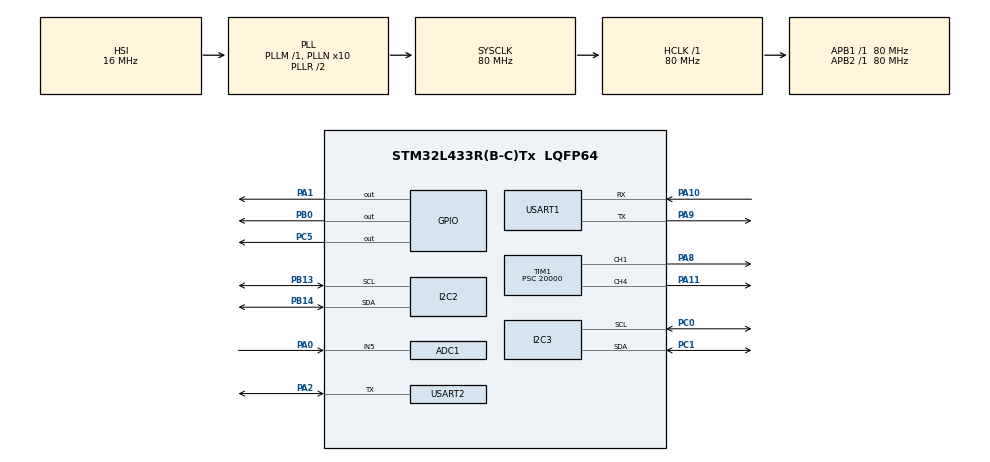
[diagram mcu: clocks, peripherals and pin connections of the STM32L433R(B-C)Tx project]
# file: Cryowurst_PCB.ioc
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ADC1.Channel-0\#ChannelRegularConversion=ADC_CHANNEL_5
ADC1.NbrOfConversionFlag=1
ADC1.OffsetNumber-0\#ChannelRegularConversion=ADC_OFFSET_NONE
ADC1.Rank-0\#ChannelRegularConversion=1
ADC1.SamplingTime-0\#ChannelRegularConversion=ADC_SAMPLETIME_2CYCLES_5
ADC1.master=1
I2C2.Timing=0x10909CEC
I2C3.Timing=0x10909CEC
Mcu.Family=STM32L4
Mcu.Name=STM32L433R(B-C)Tx
Mcu.Package=LQFP64
NVIC.PriorityGroup=NVIC_PRIORITYGROUP_4
NVIC.RTC_WKUP_IRQn=true\:0\:0\:false\:false\:true\:true\:true
NVIC.USART1_IRQn=true\:0\:0\:false\:false\:true\:true\:true
PA0.Signal=ADCx_IN5
PA1.Signal=GPIO_Output
PA10.Mode=Asynchronous
PA10.Signal=USART1_RX
PA11.Signal=S_TIM1_CH4
PA13\ (JTMS-SWDIO).Mode=Serial_Wire
PA13\ (JTMS-SWDIO).Signal=SYS_JTMS-SWDIO
PA14\ (JTCK-SWCLK).Mode=Serial_Wire
PA14\ (JTCK-SWCLK).Signal=SYS_JTCK-SWCLK
PA2.Mode=Half_duplex(single_wire_mode)
PA2.Signal=USART2_TX
PA8.Signal=S_TIM1_CH1
PA9.Mode=Asynchronous
PA9.Signal=USART1_TX
PB0.Signal=GPIO_Output
PB13.Mode=I2C
PB13.Signal=I2C2_SCL
PB14.Mode=I2C
PB14.Signal=I2C2_SDA
PB3\ (JTDO-TRACESWO).Signal=SYS_JTDO-SWO
PC0.Mode=I2C
PC0.Signal=I2C3_SCL
PC1.Mode=I2C
PC1.Signal=I2C3_SDA
PC14-OSC32_IN\ (PC14).Mode=LSE-External-Oscillator
PC14-OSC32_IN\ (PC14).Signal=RCC_OSC32_IN
PC15-OSC32_OUT\ (PC15).Mode=LSE-External-Oscillator
PC15-OSC32_OUT\ (PC15).Signal=RCC_OSC32_OUT
PC5.Signal=GPIO_Output
ProjectManager.HeapSize=0x200
ProjectManager.StackSize=0x400
ProjectManager.TargetToolchain=STM32CubeIDE
RCC.ADCFreq_Value=64000000
RCC.AHBFreq_Value=80000000
RCC.APB1Freq_Value=80000000
RCC.APB1TimFreq_Value=80000000
RCC.APB2Freq_Value=80000000
RCC.APB2TimFreq_Value=80000000
RCC.CortexFreq_Value=80000000
RCC.HCLKFreq_Value=80000000
RCC.HSE_VALUE=8000000
RCC.HSI48_VALUE=48000000
RCC.HSI_VALUE=16000000
RCC.MSI_VALUE=4000000
RCC.PLLN=10
RCC.PLLSourceVirtual=RCC_PLLSOURCE_HSI
RCC.RTCClockSelection=RCC_RTCCLKSOURCE_LSE
RCC.SYSCLKFreq_VALUE=80000000
RCC.SYSCLKSource=RCC_SYSCLKSOURCE_PLLCLK
RCC.USBFreq_Value=64000000
RCC.VCOOutputFreq_Value=160000000
SH.ADCx_IN5.0=ADC1_IN5,IN5-Single-Ended
SH.S_TIM1_CH1.0=TIM1_CH1,PWM Generation1 CH1
SH.S_TIM1_CH4.0=TIM1_CH4,PWM Generation4 CH4
TIM1.Channel-PWM\ Generation1\ CH1=TIM_CHANNEL_1
TIM1.Channel-PWM\ Generation4\ CH4=TIM_CHANNEL_4
TIM1.OCPolarity_4=TIM_OCPOLARITY_LOW
TIM1.Period=6
TIM1.Prescaler=20000
TIM1.Pulse-PWM\ Generation1\ CH1=3
TIM1.Pulse-PWM\ Generation4\ CH4=3
USART1.VirtualMode-Asynchronous=VM_ASYNC
USART2.BaudRate=19200
USART2.VirtualMode-Half_duplex(single_wire_mode)=VM_ASYNC
VP_RTC_VS_RTC_Activate.Mode=RTC_Enabled
VP_RTC_VS_RTC_WakeUp_intern.Mode=WakeUp
board=custom

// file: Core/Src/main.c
/* USER CODE BEGIN Header */
/**
  ******************************************************************************
  * @file           : main.c
  * @brief          : Main program body
  ******************************************************************************
  * @attention
  *
  * <h2><center>&copy; Copyright (c) 2021 STMicroelectronics.
  * All rights reserved.</center></h2>
  *
  * This software component is licensed by ST under BSD 3-Clause license,
  * the "License"; You may not use this file except in compliance with the
  * License. You may obtain a copy of the License at:
  *                        opensource.org/licenses/BSD-3-Clause
  *
  ******************************************************************************
  */
/* USER CODE END Header */
#include "main.h"

/* USER CODE BEGIN Includes */
#include <stdbool.h>
#include <string.h>
//#include "SparkFun_Qwiic_Scale_NAU7802_Arduino_library.h"
/* USER CODE END Includes */

/* USER CODE BEGIN PTD */
typedef struct TEMPERATURE_DATA{
	int16_t temperature;
}TEMPERATURE_DATA;
typedef struct IMU_DATA{
	int16_t accel_x;
	int16_t accel_y;
	int16_t accel_z;
	int16_t gyro_x;
	int16_t gyro_y;
	int16_t gyro_z;
	int16_t mag_x;
	int16_t mag_y;
	int16_t mag_z;
}IMU_DATA;
typedef struct TILT_DATA{
	int16_t accel_x;
	int16_t accel_y;
	int16_t accel_z;
	int16_t pitch_x;
	int16_t roll_y;
}TILT_DATA;
typedef struct COND_DATA{
	uint16_t result;
}COND_DATA;
typedef struct PRES_DATA{
	uint16_t pressure_result;
	uint16_t temp_result;
}PRES_DATA;
/* USER CODE END PTD */

/* USER CODE BEGIN PD */
#define GENERAL_CALL_ADDR 0
#define CI_Byte 0xAC

/*WAIT TIMES*/
#define TMP117_I2C_DELAY 500
#define MPU9250_I2C_DELAY 500
#define TILT_UART_DELAY 1000
#define ADC_POLL_TIMEOUT 1000

#define TMP117_EEPROM_WRITE_WAIT 7 //ms
/*WAIT TIMES*/

/*TEMPERATURE SENSOR*/
#define TMP117_DEVICE_ID_REG 0x0F

#define TMP117_TEMPERATURE_REG 0x00
#define TMP117_CONFIG_REG 0x01
#define TMP117_EEPROM_UNLOCK_REG 0x04
#define TMP117_EEPROM_2_REG 0x06

#define TMP117_EEPROM_UNLOCK_BIT 15
#define TMP117_EEPROM_BUSY_BIT 14
#define TMP117_RESET_CMD 6
/*TEMPERATURE SENSOR*/

/*IMU SENSOR*/
/*MPU-9250 ADDRESS*/
#define MPU9250_WHO_AM_I 0x75 //default 0x71
#define MPU9250_USER_CTRL 0x6A
#define MPU9250_INT_PIN_CFG 0x37

/*MPU-9250 Accelerometer Data Registers*/
#define MPU9250_ACCEL_XOUT_H 0x3B
#define MPU9250_ACCEL_XOUT_L 0x3C
#define MPU9250_ACCEL_YOUT_H 0x3D
#define MPU9250_ACCEL_YOUT_L 0x3E
#define MPU9250_ACCEL_ZOUT_H 0x3F
#define MPU9250_ACCEL_ZOUT_L 0x40

/*MPU-9250 Temperature Data Registers*/
#define MPU9250_TEMP_OUT_H 0x41
#define MPU9250_TEMP_OUT_L 0x42

/*MPU-9250 Gyro Data Registers*/
#define MPU9250_GYRO_XOUT_H 0x43
#define MPU9250_GYRO_XOUT_L 0x44
#define MPU9250_GYRO_YOUT_H 0x45
#define MPU9250_GYRO_YOUT_L 0x46
#define MPU9250_GYRO_ZOUT_H 0x47
#define MPU9250_GYRO_ZOUT_L 0x48

/*MPU-9250 Magnetometer Data Registers*/
#define MPU9250_MAG_XOUT_L 0x03 //HXL
#define MPU9250_MAG_XOUT_H 0x04 //HXH
#define MPU9250_MAG_YOUT_L 0x05 //HYL
#define MPU9250_MAG_YOUT_H 0x06 //HYH
#define MPU9250_MAG_ZOUT_L 0x07 //HZL
#define MPU9250_MAG_ZOUT_H 0x08 //HZH

#define MPU9250_MAG_STATUS 0x02 //ST1
#define MPU9250_MAG_STATUS2 0x09 //ST2
#define MPU9250_MAG_CNTL 0x0A //CNTL
#define MPU9250_MAG_CNTL2 0x0B

#define ICM20948_INT_PIN_CFG 0x0F

#define ICM20948_MAG_XOUT_L 0x11 //HXL
#define ICM20948_MAG_XOUT_H 0x12 //HXH
#define ICM20948_MAG_YOUT_L 0x13 //HYL
#define ICM20948_MAG_YOUT_H 0x14 //HYH
#define ICM20948_MAG_ZOUT_L 0x15 //HZL
#define ICM20948_MAG_ZOUT_H 0x16 //HZH

#define ICM20948_MAG_STATUS 0x10 //ST1
#define ICM20948_MAG_STATUS2 0x18 //ST2
#define ICM20948_MAG_CNTL2 0x31 //CNTL
#define ICM20948_MAG_CNTL3 0x32
/*IMU SENSOR*/

/* USER CODE END PD */

ADC_HandleTypeDef hadc1;

I2C_HandleTypeDef hi2c2;
I2C_HandleTypeDef hi2c3;

RTC_HandleTypeDef hrtc;

TIM_HandleTypeDef htim1;

UART_HandleTypeDef huart1;
UART_HandleTypeDef huart2;

/* USER CODE BEGIN PV */
bool flag = false;
static const uint8_t TMP117_ADDR = (0x48 << 1);
static const uint8_t ICM20948_ADDR = (0x68 << 1);
static const uint8_t AK09916_ADDR = (0x0C << 1);
static const uint8_t PRESSURE_ADDR = (0x40 << 1);

bool load_cell_connected = false;
bool pressure_sensor_connected = false;
bool tilt_sensor_connected = false;
bool imu_connected = false;
bool temperature_sensor_connected = false;
/* USER CODE END PV */

void SystemClock_Config(void);
static void MX_GPIO_Init(void);
static void MX_USART2_UART_Init(void);
static void MX_I2C3_Init(void);
static void MX_RTC_Init(void);
static void MX_USART1_UART_Init(void);
static void MX_TIM1_Init(void);
static void MX_ADC1_Init(void);
static void MX_I2C2_Init(void);
/* USER CODE BEGIN PFP */
bool setup_temperature_sensor(void);
TEMPERATURE_DATA read_temperature_sensor(void);
bool setup_imu_sensor(void);
IMU_DATA read_imu_sensor(void);
bool setup_tilt_sensor(void);
bool setup_load_cell_sensor(void);
TILT_DATA read_tilt_sensor(void);
COND_DATA read_conductivity_sensor(void);
bool setup_pressure_sensor(void);
PRES_DATA read_pressure_sensor(void);
uint16_t read_battery_voltage();
void convert_int32_t_to_three_bytes(int32_t input_value, uint8_t * output_array);
bool assemble_and_send_packet(void);
/* USER CODE END PFP */

/* USER CODE BEGIN 0 */
uint8_t TILT_RX_BUF[50];
char TILT_RX_DATA[50];
int TILT_RX_DATA_INDEX = 0;
volatile bool TILT_RX_FLAG = false;
volatile bool TILT_ERROR_FLAG = false;
uint8_t TILT_CHKSUM = 0;
char TILT_CHKSUM_RETREIVED[2];

TEMPERATURE_DATA temperature_data;
IMU_DATA imu_data;
TILT_DATA tilt_data;
COND_DATA cond_data;
PRES_DATA pres_data;
/* USER CODE END 0 */

int main(void)
{

  /* MCU Configuration--------------------------------------------------------*/

  /* Reset of all peripherals, Initializes the Flash interface and the Systick. */
  HAL_Init();

  /* Configure the system clock */
  SystemClock_Config();

  /* Initialize all configured peripherals */
  MX_GPIO_Init();
  MX_USART2_UART_Init();
  MX_I2C3_Init();
  MX_RTC_Init();
  MX_USART1_UART_Init();
  MX_TIM1_Init();
  MX_ADC1_Init();
  MX_I2C2_Init();
  /* USER CODE BEGIN 2 */

  /*CRYOEGG 19 WAKEUP CODE*/
  // wakeup functionality
  /* Check and handle if the system was resumed from StandBy mode */
  if(__HAL_PWR_GET_FLAG(PWR_FLAG_SB) != RESET)
  {
	  /* Clear Standby flag */
	  __HAL_PWR_CLEAR_FLAG(PWR_FLAG_SB);
  }
  /* The Following Wakeup sequence is highly recommended prior to each Standby mode entry
   * mainly  when using more than one wakeup source this is to not miss any wakeup event.
   * - Disable all used wakeup sources,
   * - Clear all related wakeup flags,
   * - Re-enable all used wakeup sources,
   * - Enter the Standby mode.
   * */
  /* Disable all used wakeup sources*/
  HAL_RTCEx_DeactivateWakeUpTimer(&hrtc);
  /* Clear all related wakeup flags */
  __HAL_PWR_CLEAR_FLAG(PWR_FLAG_WU);
  /*CRYOEGG 19 WAKEUP CODE*/

  //Enable Sensor 3v3
  HAL_GPIO_WritePin(GPIOC, GPIO_PIN_5, GPIO_PIN_SET);
   HAL_Delay(500);

   load_cell_connected = setup_load_cell_sensor(); // returns true on success
   //tilt_sensor_connected = setup_tilt_sensor();
   tilt_sensor_connected = false; // temporary removal of tilt sensor function as we're not using it and it seems to sometimes cause the micro to hang.
   imu_connected = setup_imu_sensor();
   temperature_sensor_connected = setup_temperature_sensor();
   pressure_sensor_connected = setup_pressure_sensor();

  //Enable Radio Modem
  HAL_GPIO_WritePin(GPIOB, GPIO_PIN_0, GPIO_PIN_SET);
  HAL_Delay(500);
  assemble_and_send_packet();
  //turn on led
  HAL_GPIO_WritePin(GPIOA, GPIO_PIN_1, GPIO_PIN_SET);

  HAL_Delay(500);
  //Disable Sensor 3v3
  HAL_GPIO_WritePin(GPIOC, GPIO_PIN_5, GPIO_PIN_RESET);
  //Disable Radio Modem
  HAL_GPIO_WritePin(GPIOB, GPIO_PIN_0, GPIO_PIN_RESET);
  //HAL_Delay(2000);

  // set sleep period
  // this varies depending on whether we are in "deployment mode" (after a power-on or hardware reset) or in "long-term mode"

  // RTC backup register 0 counts out our initial "deployment" packets at a high sample rate

  uint32_t deployment_packet_count;

  uint32_t sleep_time;
  // note that it takes 5 seconds to wake up and produce a packet, so all sleep times need to be shortened by 5s.
  #define DEPLOYMENT_PACKET_SLEEP 5 // sleep for 5 seconds between deployment packets (giving a packet every 10s)
  #define DEPLOYMENT_PACKET_TOTAL_COUNT 720 // 720 deployment packets before we go to long-term mode. At one every 10s, that's two hours (6 packets/minute * 60 minutes * 2 hours = 720)

  #define LONG_TERM_SLEEP 595 // 595 seconds sleep + 5s = 600s between packets, which is 1 packet every 10 minutes

  // read values from RTC backup registers
  HAL_PWR_EnableBkUpAccess(); // enable access to the Backup Registers

  deployment_packet_count = HAL_RTCEx_BKUPRead(&hrtc, 0); // get the number of deployment packets transmitted so far

  if (deployment_packet_count < DEPLOYMENT_PACKET_TOTAL_COUNT ) {

	  // we're still in deployment mode
	  deployment_packet_count++;
	  sleep_time = DEPLOYMENT_PACKET_SLEEP;

  } else {

	  // we're in long-term mode
	  sleep_time = LONG_TERM_SLEEP;
  }

  // write back the deployment packet count to the backup register
  HAL_RTCEx_BKUPWrite(&hrtc, 0, deployment_packet_count);

  HAL_StatusTypeDef rtc_ret;
  // configure wakeup timer - set the clock to count in seconds, 0x3C seconds = 60 seconds
  rtc_ret = HAL_RTCEx_SetWakeUpTimer_IT(&hrtc, sleep_time, RTC_WAKEUPCLOCK_CK_SPRE_16BITS);

//  strcpy((char*)buf, "sleep\r\n");
//  HAL_UART_Transmit(&huart2, buf, strlen((char*)buf), HAL_MAX_DELAY);
  /* Enter the Shutdown mode */
  HAL_PWREx_EnterSHUTDOWNMode();

  /* USER CODE END 2 */

  /* Infinite loop */
  while (1)
  {

  }
}

void SystemClock_Config(void)
{
  RCC_OscInitTypeDef RCC_OscInitStruct = {0};
  RCC_ClkInitTypeDef RCC_ClkInitStruct = {0};

  /** Configure the main internal regulator output voltage
  */
  if (HAL_PWREx_ControlVoltageScaling(PWR_REGULATOR_VOLTAGE_SCALE1) != HAL_OK)
  {
    Error_Handler();
  }
  /** Configure LSE Drive Capability
  */
  HAL_PWR_EnableBkUpAccess();
  __HAL_RCC_LSEDRIVE_CONFIG(RCC_LSEDRIVE_LOW);
  /** Initializes the RCC Oscillators according to the specified parameters
  * in the RCC_OscInitTypeDef structure.
  */
  RCC_OscInitStruct.OscillatorType = RCC_OSCILLATORTYPE_HSI|RCC_OSCILLATORTYPE_LSE;
  RCC_OscInitStruct.LSEState = RCC_LSE_ON;
  RCC_OscInitStruct.HSIState = RCC_HSI_ON;
  RCC_OscInitStruct.HSICalibrationValue = RCC_HSICALIBRATION_DEFAULT;
  RCC_OscInitStruct.PLL.PLLState = RCC_PLL_ON;
  RCC_OscInitStruct.PLL.PLLSource = RCC_PLLSOURCE_HSI;
  RCC_OscInitStruct.PLL.PLLM = 1;
  RCC_OscInitStruct.PLL.PLLN = 10;
  RCC_OscInitStruct.PLL.PLLP = RCC_PLLP_DIV7;
  RCC_OscInitStruct.PLL.PLLQ = RCC_PLLQ_DIV2;
  RCC_OscInitStruct.PLL.PLLR = RCC_PLLR_DIV2;
  if (HAL_RCC_OscConfig(&RCC_OscInitStruct) != HAL_OK)
  {
    Error_Handler();
  }
  /** Initializes the CPU, AHB and APB buses clocks
  */
  RCC_ClkInitStruct.ClockType = RCC_CLOCKTYPE_HCLK|RCC_CLOCKTYPE_SYSCLK
                              |RCC_CLOCKTYPE_PCLK1|RCC_CLOCKTYPE_PCLK2;
  RCC_ClkInitStruct.SYSCLKSource = RCC_SYSCLKSOURCE_PLLCLK;
  RCC_ClkInitStruct.AHBCLKDivider = RCC_SYSCLK_DIV1;
  RCC_ClkInitStruct.APB1CLKDivider = RCC_HCLK_DIV1;
  RCC_ClkInitStruct.APB2CLKDivider = RCC_HCLK_DIV1;

  if (HAL_RCC_ClockConfig(&RCC_ClkInitStruct, FLASH_LATENCY_4) != HAL_OK)
  {
    Error_Handler();
  }
}

static void MX_ADC1_Init(void)
{

  ADC_ChannelConfTypeDef sConfig = {0};

  /** Common config
  */
  hadc1.Instance = ADC1;
  hadc1.Init.ClockPrescaler = ADC_CLOCK_ASYNC_DIV1;
  hadc1.Init.Resolution = ADC_RESOLUTION_12B;
  hadc1.Init.DataAlign = ADC_DATAALIGN_RIGHT;
  hadc1.Init.ScanConvMode = ADC_SCAN_DISABLE;
  hadc1.Init.EOCSelection = ADC_EOC_SINGLE_CONV;
  hadc1.Init.LowPowerAutoWait = DISABLE;
  hadc1.Init.ContinuousConvMode = DISABLE;
  hadc1.Init.NbrOfConversion = 1;
  hadc1.Init.DiscontinuousConvMode = DISABLE;
  hadc1.Init.ExternalTrigConv = ADC_SOFTWARE_START;
  hadc1.Init.ExternalTrigConvEdge = ADC_EXTERNALTRIGCONVEDGE_NONE;
  hadc1.Init.DMAContinuousRequests = DISABLE;
  hadc1.Init.Overrun = ADC_OVR_DATA_PRESERVED;
  hadc1.Init.OversamplingMode = DISABLE;
  if (HAL_ADC_Init(&hadc1) != HAL_OK)
  {
    Error_Handler();
  }
  /** Configure Regular Channel
  */
  sConfig.Channel = ADC_CHANNEL_5;
  sConfig.Rank = ADC_REGULAR_RANK_1;
  sConfig.SamplingTime = ADC_SAMPLETIME_2CYCLES_5;
  sConfig.SingleDiff = ADC_SINGLE_ENDED;
  sConfig.OffsetNumber = ADC_OFFSET_NONE;
  sConfig.Offset = 0;
  if (HAL_ADC_ConfigChannel(&hadc1, &sConfig) != HAL_OK)
  {
    Error_Handler();
  }

}

static void MX_I2C2_Init(void)
{

  hi2c2.Instance = I2C2;
  hi2c2.Init.Timing = 0x10909CEC;
  hi2c2.Init.OwnAddress1 = 0;
  hi2c2.Init.AddressingMode = I2C_ADDRESSINGMODE_7BIT;
  hi2c2.Init.DualAddressMode = I2C_DUALADDRESS_DISABLE;
  hi2c2.Init.OwnAddress2 = 0;
  hi2c2.Init.OwnAddress2Masks = I2C_OA2_NOMASK;
  hi2c2.Init.GeneralCallMode = I2C_GENERALCALL_DISABLE;
  hi2c2.Init.NoStretchMode = I2C_NOSTRETCH_DISABLE;
  if (HAL_I2C_Init(&hi2c2) != HAL_OK)
  {
    Error_Handler();
  }
  /** Configure Analogue filter
  */
  if (HAL_I2CEx_ConfigAnalogFilter(&hi2c2, I2C_ANALOGFILTER_ENABLE) != HAL_OK)
  {
    Error_Handler();
  }
  /** Configure Digital filter
  */
  if (HAL_I2CEx_ConfigDigitalFilter(&hi2c2, 0) != HAL_OK)
  {
    Error_Handler();
  }

}

static void MX_I2C3_Init(void)
{

  hi2c3.Instance = I2C3;
  hi2c3.Init.Timing = 0x10909CEC;
  hi2c3.Init.OwnAddress1 = 0;
  hi2c3.Init.AddressingMode = I2C_ADDRESSINGMODE_7BIT;
  hi2c3.Init.DualAddressMode = I2C_DUALADDRESS_DISABLE;
  hi2c3.Init.OwnAddress2 = 0;
  hi2c3.Init.OwnAddress2Masks = I2C_OA2_NOMASK;
  hi2c3.Init.GeneralCallMode = I2C_GENERALCALL_DISABLE;
  hi2c3.Init.NoStretchMode = I2C_NOSTRETCH_DISABLE;
  if (HAL_I2C_Init(&hi2c3) != HAL_OK)
  {
    Error_Handler();
  }
  /** Configure Analogue filter
  */
  if (HAL_I2CEx_ConfigAnalogFilter(&hi2c3, I2C_ANALOGFILTER_ENABLE) != HAL_OK)
  {
    Error_Handler();
  }
  /** Configure Digital filter
  */
  if (HAL_I2CEx_ConfigDigitalFilter(&hi2c3, 0) != HAL_OK)
  {
    Error_Handler();
  }

}

static void MX_RTC_Init(void)
{

  /** Initialize RTC Only
  */
  hrtc.Instance = RTC;
  hrtc.Init.HourFormat = RTC_HOURFORMAT_24;
  hrtc.Init.AsynchPrediv = 127;
  hrtc.Init.SynchPrediv = 255;
  hrtc.Init.OutPut = RTC_OUTPUT_DISABLE;
  hrtc.Init.OutPutRemap = RTC_OUTPUT_REMAP_NONE;
  hrtc.Init.OutPutPolarity = RTC_OUTPUT_POLARITY_HIGH;
  hrtc.Init.OutPutType = RTC_OUTPUT_TYPE_OPENDRAIN;
  if (HAL_RTC_Init(&hrtc) != HAL_OK)
  {
    Error_Handler();
  }

}

static void MX_TIM1_Init(void)
{

  TIM_MasterConfigTypeDef sMasterConfig = {0};
  TIM_OC_InitTypeDef sConfigOC = {0};
  TIM_BreakDeadTimeConfigTypeDef sBreakDeadTimeConfig = {0};

  htim1.Instance = TIM1;
  htim1.Init.Prescaler = 20000;
  htim1.Init.CounterMode = TIM_COUNTERMODE_UP;
  htim1.Init.Period = 6;
  htim1.Init.ClockDivision = TIM_CLOCKDIVISION_DIV1;
  htim1.Init.RepetitionCounter = 0;
  htim1.Init.AutoReloadPreload = TIM_AUTORELOAD_PRELOAD_DISABLE;
  if (HAL_TIM_PWM_Init(&htim1) != HAL_OK)
  {
    Error_Handler();
  }
  sMasterConfig.MasterOutputTrigger = TIM_TRGO_RESET;
  sMasterConfig.MasterOutputTrigger2 = TIM_TRGO2_RESET;
  sMasterConfig.MasterSlaveMode = TIM_MASTERSLAVEMODE_DISABLE;
  if (HAL_TIMEx_MasterConfigSynchronization(&htim1, &sMasterConfig) != HAL_OK)
  {
    Error_Handler();
  }
  sConfigOC.OCMode = TIM_OCMODE_PWM1;
  sConfigOC.Pulse = 3;
  sConfigOC.OCPolarity = TIM_OCPOLARITY_HIGH;
  sConfigOC.OCNPolarity = TIM_OCNPOLARITY_HIGH;
  sConfigOC.OCFastMode = TIM_OCFAST_DISABLE;
  sConfigOC.OCIdleState = TIM_OCIDLESTATE_RESET;
  sConfigOC.OCNIdleState = TIM_OCNIDLESTATE_RESET;
  if (HAL_TIM_PWM_ConfigChannel(&htim1, &sConfigOC, TIM_CHANNEL_1) != HAL_OK)
  {
    Error_Handler();
  }
  sConfigOC.OCPolarity = TIM_OCPOLARITY_LOW;
  if (HAL_TIM_PWM_ConfigChannel(&htim1, &sConfigOC, TIM_CHANNEL_4) != HAL_OK)
  {
    Error_Handler();
  }
  sBreakDeadTimeConfig.OffStateRunMode = TIM_OSSR_DISABLE;
  sBreakDeadTimeConfig.OffStateIDLEMode = TIM_OSSI_DISABLE;
  sBreakDeadTimeConfig.LockLevel = TIM_LOCKLEVEL_OFF;
  sBreakDeadTimeConfig.DeadTime = 0;
  sBreakDeadTimeConfig.BreakState = TIM_BREAK_DISABLE;
  sBreakDeadTimeConfig.BreakPolarity = TIM_BREAKPOLARITY_HIGH;
  sBreakDeadTimeConfig.BreakFilter = 0;
  sBreakDeadTimeConfig.Break2State = TIM_BREAK2_DISABLE;
  sBreakDeadTimeConfig.Break2Polarity = TIM_BREAK2POLARITY_HIGH;
  sBreakDeadTimeConfig.Break2Filter = 0;
  sBreakDeadTimeConfig.AutomaticOutput = TIM_AUTOMATICOUTPUT_DISABLE;
  if (HAL_TIMEx_ConfigBreakDeadTime(&htim1, &sBreakDeadTimeConfig) != HAL_OK)
  {
    Error_Handler();
  }
  HAL_TIM_MspPostInit(&htim1);

}

static void MX_USART1_UART_Init(void)
{

  huart1.Instance = USART1;
  huart1.Init.BaudRate = 115200;
  huart1.Init.WordLength = UART_WORDLENGTH_8B;
  huart1.Init.StopBits = UART_STOPBITS_1;
  huart1.Init.Parity = UART_PARITY_NONE;
  huart1.Init.Mode = UART_MODE_TX_RX;
  huart1.Init.HwFlowCtl = UART_HWCONTROL_NONE;
  huart1.Init.OverSampling = UART_OVERSAMPLING_16;
  huart1.Init.OneBitSampling = UART_ONE_BIT_SAMPLE_DISABLE;
  huart1.AdvancedInit.AdvFeatureInit = UART_ADVFEATURE_NO_INIT;
  if (HAL_UART_Init(&huart1) != HAL_OK)
  {
    Error_Handler();
  }

}

static void MX_USART2_UART_Init(void)
{

  huart2.Instance = USART2;
  huart2.Init.BaudRate = 19200;
  huart2.Init.WordLength = UART_WORDLENGTH_8B;
  huart2.Init.StopBits = UART_STOPBITS_1;
  huart2.Init.Parity = UART_PARITY_NONE;
  huart2.Init.Mode = UART_MODE_TX_RX;
  huart2.Init.HwFlowCtl = UART_HWCONTROL_NONE;
  huart2.Init.OverSampling = UART_OVERSAMPLING_16;
  huart2.Init.OneBitSampling = UART_ONE_BIT_SAMPLE_DISABLE;
  huart2.AdvancedInit.AdvFeatureInit = UART_ADVFEATURE_NO_INIT;
  if (HAL_HalfDuplex_Init(&huart2) != HAL_OK)
  {
    Error_Handler();
  }

}

static void MX_GPIO_Init(void)
{
  GPIO_InitTypeDef GPIO_InitStruct = {0};

  /* GPIO Ports Clock Enable */
  __HAL_RCC_GPIOC_CLK_ENABLE();
  __HAL_RCC_GPIOA_CLK_ENABLE();
  __HAL_RCC_GPIOB_CLK_ENABLE();

  /*Configure GPIO pin Output Level */
  HAL_GPIO_WritePin(GPIOA, GPIO_PIN_1, GPIO_PIN_RESET);

  /*Configure GPIO pin Output Level */
  HAL_GPIO_WritePin(GPIOC, GPIO_PIN_5, GPIO_PIN_RESET);

  /*Configure GPIO pin Output Level */
  HAL_GPIO_WritePin(GPIOB, GPIO_PIN_0, GPIO_PIN_RESET);

  /*Configure GPIO pin : PA1 */
  GPIO_InitStruct.Pin = GPIO_PIN_1;
  GPIO_InitStruct.Mode = GPIO_MODE_OUTPUT_PP;
  GPIO_InitStruct.Pull = GPIO_NOPULL;
  GPIO_InitStruct.Speed = GPIO_SPEED_FREQ_LOW;
  HAL_GPIO_Init(GPIOA, &GPIO_InitStruct);

  /*Configure GPIO pin : PC5 */
  GPIO_InitStruct.Pin = GPIO_PIN_5;
  GPIO_InitStruct.Mode = GPIO_MODE_OUTPUT_PP;
  GPIO_InitStruct.Pull = GPIO_NOPULL;
  GPIO_InitStruct.Speed = GPIO_SPEED_FREQ_LOW;
  HAL_GPIO_Init(GPIOC, &GPIO_InitStruct);

  /*Configure GPIO pin : PB0 */
  GPIO_InitStruct.Pin = GPIO_PIN_0;
  GPIO_InitStruct.Mode = GPIO_MODE_OUTPUT_PP;
  GPIO_InitStruct.Pull = GPIO_NOPULL;
  GPIO_InitStruct.Speed = GPIO_SPEED_FREQ_LOW;
  HAL_GPIO_Init(GPIOB, &GPIO_InitStruct);

}

/* USER CODE BEGIN 4 */

void HAL_UART_RxCpltCallback(UART_HandleTypeDef *huart)
{
	if (huart->Instance == USART1)
	{

		//"$" is char found at start of sensor data string
		if(TILT_RX_BUF[0] == '$'){
			TILT_RX_DATA_INDEX = 0;
		}

		TILT_RX_DATA[TILT_RX_DATA_INDEX] = TILT_RX_BUF[0];

		//"\n" char is found at end of sensor data string
		if(TILT_RX_BUF[0] == '\n'){
			TILT_RX_DATA_INDEX = 0;
			TILT_RX_FLAG = true;
		}else{
			//Checksum is calculated by xoring all characters between "$" and "*" ("*" is at index 43)
			if(TILT_RX_DATA_INDEX == 1){
				TILT_CHKSUM = TILT_RX_DATA[TILT_RX_DATA_INDEX];
			}else if(TILT_RX_DATA_INDEX < 43){
				TILT_CHKSUM ^= TILT_RX_DATA[TILT_RX_DATA_INDEX];
			}

			//Checksum is hex byte transmitted by sensor as characters, values are found at indexes 44 45
			if(TILT_RX_DATA_INDEX == 44){
				TILT_CHKSUM_RETREIVED[0] = TILT_RX_DATA[TILT_RX_DATA_INDEX];
			}else if(TILT_RX_DATA_INDEX == 45){
				TILT_CHKSUM_RETREIVED[1] = TILT_RX_DATA[TILT_RX_DATA_INDEX];
			}

			//Infinite loop mitigation
			//If index is past the 48 characters expected, set flag to true to exit while loop in read_tilt_sensor()
			if(TILT_RX_DATA_INDEX + 1 > 47){
				TILT_RX_FLAG = true;
			}
			TILT_RX_DATA_INDEX = (TILT_RX_DATA_INDEX + 1) > 47? 0 : TILT_RX_DATA_INDEX + 1;
			HAL_UART_Receive_IT(&huart1, TILT_RX_BUF, 1);
		}

	}
}
void HAL_UART_ErrorCallback(UART_HandleTypeDef *huart){
	if (huart->Instance == USART1)
	{
		//if error set rx flag to true to exit while loop
		TILT_RX_FLAG = true;
		TILT_ERROR_FLAG = true;
	}
}

/**
  * @brief Tilt Sensor Helper Character to int16_t Function
  * @note	Function used to convert characters in string received
  * 		by TILT-05 sensor to int.
  * @param start Start index of section in TILT_RX_DATA string to be converted (int)
  * @param unit_size Size of character section in TILT_RX_DATA string (int)
  * @retval int16_t Character section converted to int16_t
  */
int16_t tilt_helper_char_to_int(int start, int size, int unit_size){
	int16_t temp = 0;
	for(int i=start + 1; i<size + start; i++){
		if(TILT_RX_DATA[i] == '.'){
			//skip decimal dot
		}else{
			temp += (TILT_RX_DATA[i] - '0') * unit_size;
			unit_size /= 10;
		}
	}
	temp = TILT_RX_DATA[start] == '-'? temp * (-1) : temp;
	return temp;
}
uint8_t hexchar2int(char ch)
{
    if (ch >= '0' && ch <= '9')
        return ch - '0';
    if (ch >= 'A' && ch <= 'F')
        return ch - 'A' + 10;
    if (ch >= 'a' && ch <= 'f')
        return ch - 'a' + 10;
    return 16;
}
/**
  * @brief Setup Temperature Sensor Function
  * @note Function used to set TMP117 to shutdown mode on startup.
  * @param None
  * @retval bool Status
  */
bool setup_temperature_sensor(void){
	//1.5ms wait after startup
	HAL_Delay(50);
	uint8_t cmd_buf[3];
	uint8_t rec_buf[2];

	HAL_StatusTypeDef HAL_temperature_ret;

	//Fill pointer register with device id reg address
	uint16_t id_reg = 0;
	cmd_buf[0] = TMP117_DEVICE_ID_REG;
	HAL_temperature_ret = HAL_I2C_Master_Transmit(&hi2c3, TMP117_ADDR, cmd_buf, 1, TMP117_I2C_DELAY);
	//Read device id register
	HAL_temperature_ret = HAL_I2C_Master_Receive(&hi2c3, TMP117_ADDR, rec_buf, 2, TMP117_I2C_DELAY);
	id_reg = ((uint16_t)rec_buf[0] << 8 | rec_buf[1]);

	//default id reg 279 base10

	uint16_t config_reg = 0;

	//Read config register
	cmd_buf[0] = TMP117_CONFIG_REG;
	HAL_temperature_ret = HAL_I2C_Master_Transmit(&hi2c3, TMP117_ADDR, cmd_buf, 1, TMP117_I2C_DELAY);
	HAL_temperature_ret = HAL_I2C_Master_Receive(&hi2c3, TMP117_ADDR, rec_buf, 2, TMP117_I2C_DELAY);
	config_reg = ((uint16_t)rec_buf[0] << 8 | rec_buf[1]);

	//Set bit [10, 11] so that sensor can go from continuous -> shutdown mode
	config_reg |= 0x0400;
	cmd_buf[0] = TMP117_CONFIG_REG;
	cmd_buf[1] = config_reg >> 8;
	cmd_buf[2] = config_reg & 0x00FF;
	HAL_temperature_ret = HAL_I2C_Master_Transmit(&hi2c3, TMP117_ADDR, cmd_buf, 3, TMP117_I2C_DELAY);

	if(HAL_temperature_ret == HAL_OK && id_reg == 279){
		return true;
	}
	return false;

}
/**
  * @brief Read Temperature Sensor Function
  * @note	Function used to read raw temperature from TMP117.
  * @param None
  * @retval TEMPERATURE_DATA Raw sensor data
  */
TEMPERATURE_DATA read_temperature_sensor(void){
	TEMPERATURE_DATA data;
	uint8_t cmd_buf[3];
	uint8_t rec_buf[2];

	uint16_t config_reg = 0;

	//Read config register
	cmd_buf[0] = TMP117_CONFIG_REG;
	HAL_I2C_Master_Transmit(&hi2c3, TMP117_ADDR, cmd_buf, 1, TMP117_I2C_DELAY);
	HAL_I2C_Master_Receive(&hi2c3, TMP117_ADDR, rec_buf, 2, TMP117_I2C_DELAY);
	config_reg = ((uint16_t)rec_buf[0] << 8 | rec_buf[1]);

	//Set bit [10, 11] so that sensor can perform one-shot conversion
	config_reg |= 0x0C00;
	cmd_buf[0] = TMP117_CONFIG_REG;
	cmd_buf[1] = config_reg >> 8;
	cmd_buf[2] = config_reg & 0x00FF;
	HAL_I2C_Master_Transmit(&hi2c3, TMP117_ADDR, cmd_buf, 3, TMP117_I2C_DELAY);

	//Wait for conversion to finish
	HAL_Delay(1000);

	//Temperature register is where temperature value is stored
	cmd_buf[0] = TMP117_TEMPERATURE_REG;
	HAL_I2C_Master_Transmit(&hi2c3, TMP117_ADDR, cmd_buf, 1, TMP117_I2C_DELAY);
	HAL_I2C_Master_Receive(&hi2c3, TMP117_ADDR, rec_buf, 2, TMP117_I2C_DELAY);
	data.temperature = ((uint16_t)rec_buf[0] << 8 | rec_buf[1]);

	return data;
}
/**
  * @brief Setup IMU Sensor Function
  * @note	Function used to setup MPU9250.
  * @param None
  * @retval bool Status
  */
bool setup_imu_sensor(void){
	HAL_StatusTypeDef HAL_imu_ret;
	uint8_t cmd_buf[2];
	uint8_t rec_buf[2];

	/*MAGNETOMETER DATA REGISTER READS ---- START*/

	uint8_t mag_id = 0;
	volatile uint8_t mag_status = 0;
	uint8_t mag_status2 = 0;
	uint8_t mag_control = 0;
	bool mag_setup_status = false;

	uint8_t icm20948_pwr_mgt_2 = 0;
	//pwr mgt 2
	cmd_buf[0] = 0x07;
	HAL_imu_ret = HAL_I2C_Master_Transmit(&hi2c3, ICM20948_ADDR, cmd_buf, 1, MPU9250_I2C_DELAY);
	HAL_imu_ret = HAL_I2C_Master_Receive(&hi2c3, ICM20948_ADDR, rec_buf, 1, MPU9250_I2C_DELAY);
	icm20948_pwr_mgt_2 = rec_buf[0];

	//turn off gyro and accel
	cmd_buf[0] = 0x07;
	cmd_buf[1] = icm20948_pwr_mgt_2 | 0x3F;
	HAL_imu_ret = HAL_I2C_Master_Transmit(&hi2c3, ICM20948_ADDR, cmd_buf, 2, MPU9250_I2C_DELAY);

	uint8_t icm20948_pwr_mgt_1 = 0;
	//pwr mgt 1
	cmd_buf[0] = 0x06;
	HAL_imu_ret = HAL_I2C_Master_Transmit(&hi2c3, ICM20948_ADDR, cmd_buf, 1, MPU9250_I2C_DELAY);
	HAL_imu_ret = HAL_I2C_Master_Receive(&hi2c3, ICM20948_ADDR, rec_buf, 1, MPU9250_I2C_DELAY);
	icm20948_pwr_mgt_1 = rec_buf[0];

	//turn on sensor by clearing sleep bit
	cmd_buf[0] = 0x06;
	cmd_buf[1] = icm20948_pwr_mgt_1 & 0xBF;
	HAL_imu_ret = HAL_I2C_Master_Transmit(&hi2c3, ICM20948_ADDR, cmd_buf, 2, MPU9250_I2C_DELAY);

	uint8_t icm20948_int_pin_cfg = 0;
	//Read int_pin_cfg register on icm20948
	cmd_buf[0] = ICM20948_INT_PIN_CFG;
	HAL_imu_ret = HAL_I2C_Master_Transmit(&hi2c3, ICM20948_ADDR, cmd_buf, 1, MPU9250_I2C_DELAY);
	HAL_imu_ret = HAL_I2C_Master_Receive(&hi2c3, ICM20948_ADDR, rec_buf, 1, MPU9250_I2C_DELAY);

	icm20948_int_pin_cfg = rec_buf[0];

	//Set BYPASS bit to high to allow I2C communication from mcu to magnetometer
	cmd_buf[0] = ICM20948_INT_PIN_CFG;
	cmd_buf[1] = icm20948_int_pin_cfg | 0x02;
	HAL_imu_ret = HAL_I2C_Master_Transmit(&hi2c3, ICM20948_ADDR, cmd_buf, 2, MPU9250_I2C_DELAY);

	//Read Device ID, default 0x09
	cmd_buf[0] = 0x01;
	HAL_imu_ret = HAL_I2C_Master_Transmit(&hi2c3, AK09916_ADDR, cmd_buf, 1, MPU9250_I2C_DELAY);
	HAL_imu_ret = HAL_I2C_Master_Receive(&hi2c3, AK09916_ADDR, rec_buf, 1, MPU9250_I2C_DELAY);
	mag_id = rec_buf[0];

	//Read CNTL2 register
	cmd_buf[0] = ICM20948_MAG_CNTL2;
	HAL_imu_ret = HAL_I2C_Master_Transmit(&hi2c3, AK09916_ADDR, cmd_buf, 1, MPU9250_I2C_DELAY);
	HAL_imu_ret = HAL_I2C_Master_Receive(&hi2c3, AK09916_ADDR, rec_buf, 1, MPU9250_I2C_DELAY);
	mag_control = rec_buf[0];

	//Wait at least 100microseconds before switching to single measurement mode
	HAL_Delay(1);

	//Set power down mode (xxxx0000 == power down mode)
	cmd_buf[0] = ICM20948_MAG_CNTL2;
	cmd_buf[1] = (mag_control & 0x0) & 0xE;
	HAL_imu_ret = HAL_I2C_Master_Transmit(&hi2c3, AK09916_ADDR, cmd_buf, 2, MPU9250_I2C_DELAY);

	if(mag_id == 0x09 && HAL_imu_ret == HAL_OK){
		mag_setup_status = true;
	}

	/*GYROSCOPE DATA REGISTER READS ---- START*/

	/*
	bool gyro_setup_status = false;

	HAL_Delay(35); //35ms cold start gyro

	cmd_buf[0] = MPU9250_GYRO_XOUT_H;
	HAL_imu_ret = HAL_I2C_Master_Transmit(&hi2c1, MPU9250_ADDR, cmd_buf, 1, MPU9250_I2C_DELAY);
	HAL_imu_ret = HAL_I2C_Master_Receive(&hi2c1, MPU9250_ADDR, rec_buf, 2, MPU9250_I2C_DELAY);

	if(HAL_imu_ret == HAL_OK){
		gyro_setup_status = true;
	}
	*/

	/*ACCELEROMETER DATA REGISTER READS ---- START*/

	/*
	bool accel_setup_status = false;

	HAL_Delay(30); //30ms cold start accel

	cmd_buf[0] = MPU9250_ACCEL_XOUT_H;
	HAL_imu_ret = HAL_I2C_Master_Transmit(&hi2c1, MPU9250_ADDR, cmd_buf, 1, MPU9250_I2C_DELAY);
	HAL_imu_ret = HAL_I2C_Master_Receive(&hi2c1, MPU9250_ADDR, rec_buf, 2, MPU9250_I2C_DELAY);

	if(HAL_imu_ret == HAL_OK){
		accel_setup_status = true;
	}
	*/

	//if(mag_setup_status && gyro_setup_status && accel_setup_status){
	if(mag_setup_status){
		return true;
	}
	return false;
}
/**
  * @brief Read IMU Sensor Function
  * @note	Function used to read raw gyro, accelerometer, magnetometer values from MPU9250.
  * @param None
  * @retval IMU_DATA Raw sensor data
  */
IMU_DATA read_imu_sensor(void){
	IMU_DATA data;

	HAL_StatusTypeDef HAL_imu_ret;
	uint8_t cmd_buf[2];
	uint8_t rec_buf[2];

	/*MAGNETOMETER DATA REGISTER READS ---- START*/

	int16_t mag_read_x = 0;
	int16_t mag_read_y = 0;
	int16_t mag_read_z = 0;
	uint8_t mag_id = 0;
	volatile uint8_t mag_status = 0;
	uint8_t mag_status2 = 0;
	uint8_t mag_control = 0;

	//Read CNTL1 register
	cmd_buf[0] = ICM20948_MAG_CNTL2;
	HAL_imu_ret = HAL_I2C_Master_Transmit(&hi2c3, AK09916_ADDR, cmd_buf, 1, MPU9250_I2C_DELAY);
	HAL_imu_ret = HAL_I2C_Master_Receive(&hi2c3, AK09916_ADDR, rec_buf, 1, MPU9250_I2C_DELAY);
	mag_control = rec_buf[0];

	//Set single measurement mode (xxxx0001 == single measurement mode)
	cmd_buf[0] = ICM20948_MAG_CNTL2;
	cmd_buf[1] = (mag_control & 0x0) | 0x1;
	HAL_imu_ret = HAL_I2C_Master_Transmit(&hi2c3, AK09916_ADDR, cmd_buf, 2, MPU9250_I2C_DELAY);

	HAL_Delay(100); // short delay to ensure we have time for IMU to catch up

	//Read CNTL1 register
	cmd_buf[0] = ICM20948_MAG_CNTL2;
	HAL_imu_ret = HAL_I2C_Master_Transmit(&hi2c3, AK09916_ADDR, cmd_buf, 1, MPU9250_I2C_DELAY);
	HAL_imu_ret = HAL_I2C_Master_Receive(&hi2c3, AK09916_ADDR, rec_buf, 1, MPU9250_I2C_DELAY);
	mag_control = rec_buf[0];

	cmd_buf[0] = ICM20948_MAG_STATUS;
	HAL_imu_ret = HAL_I2C_Master_Transmit(&hi2c3, AK09916_ADDR, cmd_buf, 1, MPU9250_I2C_DELAY);
	HAL_imu_ret = HAL_I2C_Master_Receive(&hi2c3, AK09916_ADDR, rec_buf, 1, MPU9250_I2C_DELAY);
	mag_status = rec_buf[0];

	if(mag_status & 0x1){
		//Data ready
		//otherwise data has already been read

		//LittleEndian
		cmd_buf[0] = ICM20948_MAG_XOUT_L;
		HAL_imu_ret = HAL_I2C_Master_Transmit(&hi2c3, AK09916_ADDR, cmd_buf, 1, MPU9250_I2C_DELAY);
		HAL_imu_ret = HAL_I2C_Master_Receive(&hi2c3, AK09916_ADDR, rec_buf, 2, MPU9250_I2C_DELAY);
		mag_read_x = (rec_buf[1] << 8) | rec_buf[0];

		cmd_buf[0] = ICM20948_MAG_YOUT_L;
		HAL_imu_ret = HAL_I2C_Master_Transmit(&hi2c3, AK09916_ADDR, cmd_buf, 1, MPU9250_I2C_DELAY);
		HAL_imu_ret = HAL_I2C_Master_Receive(&hi2c3, AK09916_ADDR, rec_buf, 2, MPU9250_I2C_DELAY);
		mag_read_y = (rec_buf[1] << 8) | rec_buf[0];

		cmd_buf[0] = ICM20948_MAG_ZOUT_L;
		HAL_imu_ret = HAL_I2C_Master_Transmit(&hi2c3, AK09916_ADDR, cmd_buf, 1, MPU9250_I2C_DELAY);
		HAL_imu_ret = HAL_I2C_Master_Receive(&hi2c3, AK09916_ADDR, rec_buf, 2, MPU9250_I2C_DELAY);
		mag_read_z = (rec_buf[1] << 8) | rec_buf[0];
	}

	//Read Status Register 2 (ST2) to signal end of read
	cmd_buf[0] = ICM20948_MAG_STATUS2;
	HAL_imu_ret = HAL_I2C_Master_Transmit(&hi2c3, AK09916_ADDR, cmd_buf, 1, MPU9250_I2C_DELAY);
	HAL_imu_ret = HAL_I2C_Master_Receive(&hi2c3, AK09916_ADDR, rec_buf, 1, MPU9250_I2C_DELAY);
	mag_status2 = rec_buf[0];

	data.mag_x = mag_read_x;
	data.mag_y = mag_read_y;
	data.mag_z = mag_read_z;

	/*MAGNETOMETER DATA REGISTER READS ---- END*/

	/*GYROSCOPE DATA REGISTER READS ---- START*/

	data.gyro_x = 0;
	data.gyro_y = 0;
	data.gyro_z = 0;
	/*
	int16_t gyro_read_x = 0;
	int16_t gyro_read_y = 0;
	int16_t gyro_read_z = 0;

	//BigEndian
	cmd_buf[0] = MPU9250_GYRO_XOUT_H;
	HAL_imu_ret = HAL_I2C_Master_Transmit(&hi2c3, MPU9250_ADDR, cmd_buf, 1, MPU9250_I2C_DELAY);
	HAL_imu_ret = HAL_I2C_Master_Receive(&hi2c3, MPU9250_ADDR, rec_buf, 2, MPU9250_I2C_DELAY);
	gyro_read_x = (rec_buf[0] << 8) | rec_buf[1];

	cmd_buf[0] = MPU9250_GYRO_YOUT_H;
	HAL_imu_ret = HAL_I2C_Master_Transmit(&hi2c3, MPU9250_ADDR, cmd_buf, 1, MPU9250_I2C_DELAY);
	HAL_imu_ret = HAL_I2C_Master_Receive(&hi2c3, MPU9250_ADDR, rec_buf, 2, MPU9250_I2C_DELAY);
	gyro_read_y = (rec_buf[0] << 8) | rec_buf[1];

	cmd_buf[0] = MPU9250_GYRO_ZOUT_H;
	HAL_imu_ret = HAL_I2C_Master_Transmit(&hi2c3, MPU9250_ADDR, cmd_buf, 1, MPU9250_I2C_DELAY);
	HAL_imu_ret = HAL_I2C_Master_Receive(&hi2c3, MPU9250_ADDR, rec_buf, 2, MPU9250_I2C_DELAY);
	gyro_read_z = (rec_buf[0] << 8) | rec_buf[1];

	data.gyro_x = gyro_read_x;
	data.gyro_y = gyro_read_y;
	data.gyro_z = gyro_read_z;

	*/
	/*GYROSCOPE DATA REGISTER READS ---- END*/

	/*ACCELEROMETER DATA REGISTER READS ---- START*/

	data.accel_x = 0;
	data.accel_y = 0;
	data.accel_z = 0;
	/*
	int16_t accel_read_x = 0;
	int16_t accel_read_y = 0;
	int16_t accel_read_z = 0;

	cmd_buf[0] = MPU9250_ACCEL_XOUT_H;
	HAL_imu_ret = HAL_I2C_Master_Transmit(&hi2c3, MPU9250_ADDR, cmd_buf, 1, MPU9250_I2C_DELAY);
	HAL_imu_ret = HAL_I2C_Master_Receive(&hi2c3, MPU9250_ADDR, rec_buf, 2, MPU9250_I2C_DELAY);
	accel_read_x = (rec_buf[0] << 8) | rec_buf[1];

	cmd_buf[0] = MPU9250_ACCEL_YOUT_H;
	HAL_imu_ret = HAL_I2C_Master_Transmit(&hi2c3, MPU9250_ADDR, cmd_buf, 1, MPU9250_I2C_DELAY);
	HAL_imu_ret = HAL_I2C_Master_Receive(&hi2c3, MPU9250_ADDR, rec_buf, 2, MPU9250_I2C_DELAY);
	accel_read_y = (rec_buf[0] << 8) | rec_buf[1];

	cmd_buf[0] = MPU9250_ACCEL_ZOUT_H;
	HAL_imu_ret = HAL_I2C_Master_Transmit(&hi2c3, MPU9250_ADDR, cmd_buf, 1, MPU9250_I2C_DELAY);
	HAL_imu_ret = HAL_I2C_Master_Receive(&hi2c3, MPU9250_ADDR, rec_buf, 2, MPU9250_I2C_DELAY);
	accel_read_z = (rec_buf[0] << 8) | rec_buf[1];

	data.accel_x = accel_read_x;
	data.accel_y = accel_read_y;
	data.accel_z = accel_read_z;
	*/

	/*ACCELEROMETER DATA REGISTER READS ---- END*/

	return data;
}
/**
  * @brief Setup Tilt Sensor Function
  * @note	Function used to setup TILT-05 sensor.
  * @param None
  * @retval bool Status
  */
bool setup_tilt_sensor(void){
	HAL_StatusTypeDef ret_status;
	char cmd_buf[10];

	//This command turns off continuous inclinometer data output
	strcpy((char*)cmd_buf, "[1MIX\r");
	ret_status = HAL_UART_Transmit(&huart1, cmd_buf, strlen((char*)cmd_buf), TILT_UART_DELAY);
	HAL_Delay(1000);
	//This command turns off continuous accelerometer data output
	strcpy((char*)cmd_buf, "[1MAX\r");
	ret_status = HAL_UART_Transmit(&huart1, cmd_buf, strlen((char*)cmd_buf), TILT_UART_DELAY);
	HAL_Delay(1000);

	//as soon as tilt sensor is powered on, uart gives overrun error, tilt sensor possibly sends burst of data on start up
	//this will clear overrun flag so that uart can be used to receive valid data during read sequence
	__HAL_UART_CLEAR_FLAG(&huart1, UART_CLEAR_OREF);

	// try and read data from the sensor
	// if the sensor is not connected, HAL_UART_ErrorCallback will set TILT_ERROR_FLAG to be true
	// reading the sensor here also ensures that the data is fresh.

	read_tilt_sensor();

	if (TILT_ERROR_FLAG == true) {
		return false; // we have a comms error
	}

	if(ret_status == HAL_OK){
		return true;
	}
	return false;
}
/**
  * @brief Read Tilt Sensor Function
  * @note	Function used to read raw accelerometer, inclinometer values from TILT-05 sensor.
  * @param None
  * @retval TILT_DATA Raw sensor data
  */
TILT_DATA read_tilt_sensor(void){
	TILT_DATA data;
	HAL_StatusTypeDef ret_status;
	char cmd_buf[10];

	data.accel_x = 0;
	data.accel_y = 0;
	data.accel_z = 0;
	data.pitch_x = 0;
	data.roll_y = 0;

	//This command turns on single inclinometer data output
	//This out put is based on last sensor position, must call twice to get real-time data
	strcpy((char*)cmd_buf, "[1MIS\r");
	ret_status = HAL_UART_Transmit(&huart1, cmd_buf, strlen((char*)cmd_buf), TILT_UART_DELAY);

	TILT_RX_FLAG = false;

	ret_status = HAL_UART_Receive_IT(&huart1, TILT_RX_BUF, 1);

	//Wait for flag to be set by interrupt receive completing
	while(!TILT_RX_FLAG){
	}

	//check data validity
	uint8_t chksum = 0;
	uint8_t top_4bit_of_byte = hexchar2int(TILT_CHKSUM_RETREIVED[0]);
	uint8_t bot_4bit_of_byte = hexchar2int(TILT_CHKSUM_RETREIVED[1]);
	if(top_4bit_of_byte >= 16 || bot_4bit_of_byte >= 16){
		return data;
	}
	chksum = top_4bit_of_byte << 4 | bot_4bit_of_byte;

	if(chksum != TILT_CHKSUM){
		return data;
	}

	data.accel_x = tilt_helper_char_to_int(7,5,1000);
	data.accel_y = tilt_helper_char_to_int(13,5,1000);
	data.accel_z = tilt_helper_char_to_int(19,5,1000);
	data.pitch_x = tilt_helper_char_to_int(25,6,1000);
	data.roll_y = tilt_helper_char_to_int(32,6,1000);

	return data;
}
/**
  * @brief Read Conductivity Sensor Function
  * @note	Function used to read raw adc values conductivity sensor.
  * @param None
  * @retval COND_DATA Raw sensor data
  */
COND_DATA read_conductivity_sensor(void){
	COND_DATA data;

	data.result = 0;

	// configure ADC to the correct channel
	ADC_ChannelConfTypeDef sConfig = {0};

	sConfig.Channel = ADC_CHANNEL_5;
	sConfig.Rank = ADC_REGULAR_RANK_1;
	sConfig.SamplingTime = ADC_SAMPLETIME_2CYCLES_5;
	sConfig.SingleDiff = ADC_SINGLE_ENDED;
	sConfig.OffsetNumber = ADC_OFFSET_NONE;
	sConfig.Offset = 0;
	if (HAL_ADC_ConfigChannel(&hadc1, &sConfig) != HAL_OK)
	{
		Error_Handler();
	}

	//Turn on PWM square waves
	HAL_TIM_PWM_Start(&htim1, TIM_CHANNEL_1);
	HAL_TIM_PWM_Start(&htim1, TIM_CHANNEL_4);

	HAL_Delay(1000);
	// start conversion
	HAL_ADC_Start(&hadc1);

	// poll ADC until conversion completes - note that we should check for the success of the conversion here really
	HAL_ADC_PollForConversion(&hadc1, ADC_POLL_TIMEOUT);

	// get result
	data.result = HAL_ADC_GetValue(&hadc1);

	// switch off ADC
	HAL_ADC_Stop(&hadc1);

	//Turn off PWM square waves
	HAL_TIM_PWM_Stop(&htim1, TIM_CHANNEL_1);
	HAL_TIM_PWM_Stop(&htim1, TIM_CHANNEL_4);

	return data;
}

bool setup_pressure_sensor(void) {

	HAL_StatusTypeDef status = HAL_BUSY;

	uint32_t trials = 2; // number of tries to connect before we give up
	uint32_t timeout = 100; // number of millisconds to wait before we give up

	status = HAL_I2C_IsDeviceReady(&hi2c2, PRESSURE_ADDR, trials, timeout);

	if (status != HAL_OK) {
		return false;
	} else {
		return true;
	}

	return false;
}

/**
  * @brief Read Pressure Sensor Function
  * @note	Function used to read raw keller pressure sensor values.
  * @param None
  * @retval PRES_DATA Raw sensor data
  */
PRES_DATA read_pressure_sensor(void){
	PRES_DATA data;

	data.pressure_result = 0;

	uint8_t command_byte = 0xAC; // request measurement command
	uint8_t pressure_received_bytes[3]; // array to store 5 received bytes from sensor
	bool pressure_okay = false;
	// send conversion request
	HAL_I2C_Master_Transmit(&hi2c2, PRESSURE_ADDR, &command_byte, sizeof(command_byte), 500 ); // 500ms timeout
	// wait 10ms - 8ms minimum required for result to be ready
	HAL_Delay(10);
	// read back results
	HAL_I2C_Master_Receive(&hi2c2, PRESSURE_ADDR, pressure_received_bytes, sizeof(pressure_received_bytes), 500); // 500ms timeout
	// check pressure reading was okay - status byte should be 0x40 if everything is operating normally
	if (pressure_received_bytes[0] == 0x40) {
		pressure_okay = true;
	}

	uint16_t raw_result = pressure_received_bytes[1];
	if (pressure_okay){
		data.pressure_result = (raw_result << 8) | pressure_received_bytes[2];
	} else {
		data.pressure_result = 0;
	}

	return data;
}

bool setup_load_cell_sensor(void) {

	bool begin_ok = false;

	begin_ok = NAU7802_begin(&hi2c2, true); // initialise sensor

	return begin_ok;
}

// function to turn load cell readings into three bytes rather than four
// we're taking a 32 bit signed value and making a 24 bit signed value but represented as three unsigned bytes
// output_arrray a pointer to a 3-byte array of uint8_t
void convert_int32_t_to_three_bytes(int32_t input_value, uint8_t * output_array) {

	*output_array = 0; // MSB
	*(output_array + 1) = 0; // middle byte
	*(output_array + 2) = 0; // LSB

	*output_array = (uint8_t)((uint32_t)(input_value & 0xFF0000) >> 16); // MSB magnitude
	*output_array = (*output_array) | ((uint32_t)(input_value & 0x8000000) >> 24); // MSB sign
	*(output_array + 1) = (uint8_t)((uint32_t)(input_value & 0xFF00) >> 8); // middle byte
	*(output_array + 2) = (uint8_t)(input_value & 0xFF); // LSB

	return;
}

// function to read battery voltage using internal voltage reference on ADC
uint16_t read_battery_voltage() {

	uint16_t battery_millivolts = 0; // return value is in integer mV, so 3.6V = 3600
	uint16_t vref_adc_val = 0; // this is the measurement of VREF from the ADC

	ADC_ChannelConfTypeDef sConfig = {0};
	// reconfigure the ADC to read the internal voltage reference
	sConfig.Channel = ADC_CHANNEL_VREFINT;
	sConfig.Rank = ADC_REGULAR_RANK_1;
	sConfig.SamplingTime = ADC_SAMPLETIME_640CYCLES_5;
	if (HAL_ADC_ConfigChannel(&hadc1, &sConfig) != HAL_OK)
	{
		Error_Handler();
	}

	// start ADC conversion
	HAL_ADC_Start(&hadc1);

	// poll ADC until conversion completes - note that we should check for the success of the conversion here really
	HAL_ADC_PollForConversion(&hadc1, ADC_POLL_TIMEOUT);

	// get result
	vref_adc_val = HAL_ADC_GetValue(&hadc1);

	// switch off ADC
	HAL_ADC_Stop(&hadc1);

	// convert the ADC value to the supply voltage (VDDA/VREF+), which on Cryowurst is the raw battery voltage
	// we use this handy macro from the HAL

	battery_millivolts = __HAL_ADC_CALC_VREFANALOG_VOLTAGE ( vref_adc_val,  ADC_RESOLUTION_12B );

	return battery_millivolts;
}

/**
  * @brief Assemble and send packet Function
  * @note	Function used to read peripheral sensor data (TILT-05, MPU9250, TMP117)
  * 		then send assembled data packet of raw sensor values to Radio modem.
  * @param None
  * @retval bool Status
  */
bool assemble_and_send_packet(void){
	HAL_StatusTypeDef radio_ret;

	temperature_data = read_temperature_sensor();

	imu_data = read_imu_sensor();

	if (tilt_sensor_connected) {
		tilt_data = read_tilt_sensor();
	}

	cond_data = read_conductivity_sensor();

	if (pressure_sensor_connected == true) {
		pres_data = read_pressure_sensor();
	}
	uint16_t battery_voltage;
	battery_voltage = read_battery_voltage();

	int32_t load_cell_ch1_result = 0;
	int32_t load_cell_ch2_result = 0;

	if (load_cell_connected == true) {
		NAU7802_setChannel(NAU7802_CHANNEL_1); // make sure we have Channel 1 selected
		NAU7802_calibrateAFE(); // recalibrate after channel change

		load_cell_ch1_result = NAU7802_getReading();
		// change to channel 2
		NAU7802_setChannel(NAU7802_CHANNEL_2);
		NAU7802_calibrateAFE(); // recalibrate after channel change
		load_cell_ch2_result = NAU7802_getReading();
	}

	uint8_t load_cell_ch1_bytes[3];
	uint8_t load_cell_ch2_bytes[3];

	convert_int32_t_to_three_bytes(load_cell_ch1_result, load_cell_ch1_bytes);
	convert_int32_t_to_three_bytes(load_cell_ch2_result, load_cell_ch2_bytes);

	// sequence number

	HAL_PWR_EnableBkUpAccess(); // enable access to the Backup Registers
	uint8_t sequence_number;
	sequence_number = HAL_RTCEx_BKUPRead(&hrtc, 2); // read Backup Register 2

	uint8_t packet[33];

	packet[0] = sizeof(packet)-1; // number of bytes to follow
	packet[1] = CI_Byte;

	/*TEMPERATURE PACKET*/
	packet[2] = temperature_data.temperature >> 8;
	packet[3] = temperature_data.temperature & 0x00FF;

	/*IMU PACKET*/
	/*
	packet[4] = imu_data.accel_x >> 8;
	packet[5] = imu_data.accel_x & 0x00FF;
	packet[6] = imu_data.accel_y >> 8;
	packet[7] = imu_data.accel_y & 0x00FF;
	packet[8] = imu_data.accel_z >> 8;
	packet[9] = imu_data.accel_z & 0x00FF;

	packet[10] = imu_data.gyro_x >> 8;
	packet[11] = imu_data.gyro_x & 0x00FF;
	packet[12] = imu_data.gyro_y >> 8;
	packet[13] = imu_data.gyro_y & 0x00FF;
	packet[14] = imu_data.gyro_z >> 8;
	packet[15] = imu_data.gyro_z & 0x00FF;
	*/
	packet[4] = imu_data.mag_x >> 8;
	packet[5] = imu_data.mag_x & 0x00FF;
	packet[6] = imu_data.mag_y >> 8;
	packet[7] = imu_data.mag_y & 0x00FF;
	packet[8] = imu_data.mag_z >> 8;
	packet[9] = imu_data.mag_z & 0x00FF;

	/*TILT PACKET*/
	packet[10] = tilt_data.accel_x >> 8;
	packet[11] = tilt_data.accel_x & 0x00FF;
	packet[12] = tilt_data.accel_y >> 8;
	packet[13] = tilt_data.accel_y & 0x00FF;
	packet[14] = tilt_data.accel_z >> 8;
	packet[15] = tilt_data.accel_z & 0x00FF;

	packet[16] = tilt_data.pitch_x >> 8;
	packet[17] = tilt_data.pitch_x & 0x00FF;
	packet[18] = tilt_data.roll_y >> 8;
	packet[19] = tilt_data.roll_y & 0x00FF;

	/*Conductivity PACKET */
	packet[20] = cond_data.result >> 8;
	packet[21] = cond_data.result & 0x00FF;

	/*Pressure PACKET*/
	packet[22] = pres_data.pressure_result >> 8;
	packet[23] = pres_data.pressure_result & 0x00FF;

	/*Load cell*/
	packet[24] = load_cell_ch1_bytes[0];
	packet[25] = load_cell_ch1_bytes[1];
	packet[26] = load_cell_ch1_bytes[2];
	packet[27] = load_cell_ch2_bytes[0];
	packet[28] = load_cell_ch2_bytes[1];
	packet[29] = load_cell_ch2_bytes[2];

	/* battery voltage */
	packet[30] = battery_voltage >> 8;
	packet[31] = battery_voltage & 0x00FF;

	/* sequence number */
	packet[32] = sequence_number;

	radio_ret = HAL_UART_Transmit(&huart2, packet, packet[0] + 1, 100);

	// increment sequence number and write back to Backup Register
	if (sequence_number == 255) {
		sequence_number = 0; // reset back to zero if we're at the top
	} else {
		sequence_number++; // otherwise increment
	}

	 HAL_RTCEx_BKUPWrite(&hrtc, 2, sequence_number); // write the sequence number to Backup Register 2

	if(radio_ret == HAL_OK){
		return true;
	}
	return false;
}
/* USER CODE END 4 */

void Error_Handler(void)
{
  __disable_irq();
  while (1)
  {
  }
}
